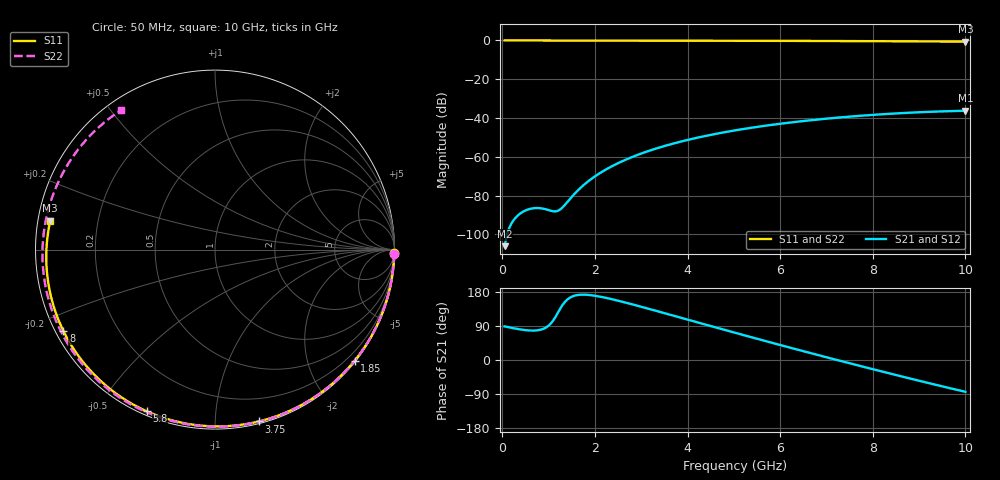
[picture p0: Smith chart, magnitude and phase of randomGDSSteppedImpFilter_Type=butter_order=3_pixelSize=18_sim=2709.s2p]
! freq	dB(S11)	phase(S11)	dB(S12)	phase(S12)
!  dB(S21)	phase(S21)	dB(S22)	phase(S22)
!S-par simulation data
#  GHz  S  DB  R 50
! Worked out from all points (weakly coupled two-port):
!   200 points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, 50 MHz to 10 GHz, reference 50 ohm
!   highest |S21| = -36.25 dB at 10 GHz (marker M1); lowest = -106.1 dB at 50 MHz (marker M2)
!   lowest |S11| = -0.6 dB at 10 GHz (marker M3), VSWR 28.38, Z = 1.78 + j4.38 ohm
!   |S11| at or under -10 dB: nowhere
!   |S22| runs from -0.6 to 0.0 dB; largest |S21 - S12| = 0
!   S11 on the Smith chart (normalised r, x): 50 MHz: open; 1.85 GHz: 0.03, -2.86; 3.75 GHz: 0.02, -1.29; 5.8 GHz: 0.02, -0.66; 8 GHz: 0.02, -0.25; 10 GHz: 0.04, +0.09
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0.05  -0.00 -1.0  -106.10 88.7  -106.10 88.7  -0.01 -1.4
0.4  -0.01 -8.4  -89.03 80.5  -89.03 80.5  -0.02 -11.7
0.75  -0.02 -15.8  -86.42 78.2  -86.42 78.2  -0.03 -21.9
1.1  -0.03 -23.1  -88.10 104.4  -88.10 104.4  -0.04 -31.9
1.5  -0.04 -31.3  -80.67 167.0  -80.67 167.0  -0.05 -43.2
1.55  -0.04 -32.4  -79.35 169.3  -79.35 169.3  -0.06 -44.5
1.75  -0.05 -36.5  -74.71 172.4  -74.71 172.4  -0.06 -50.0
1.85  -0.05 -38.5  -72.73 171.8  -72.73 171.8  -0.07 -52.8
2.15  -0.06 -44.5  -67.78 166.2  -67.78 166.2  -0.08 -60.8
2.5  -0.07 -51.5  -63.29 156.5  -63.29 156.5  -0.09 -70.0
2.9  -0.08 -59.4  -59.22 143.8  -59.22 143.8  -0.10 -80.2
3.4  -0.09 -69.0  -55.17 127.1  -55.17 127.1  -0.12 -92.4
3.75  -0.10 -75.7  -52.81 115.2  -52.81 115.2  -0.13 -100.7
4.35  -0.12 -86.8  -49.44 94.7  -49.44 94.7  -0.15 -114.5
5.05  -0.15 -99.6  -46.28 71.1  -46.28 71.1  -0.19 -129.9
5.8  -0.19 -112.9  -43.59 46.1  -43.59 46.1  -0.23 -145.8
6.7  -0.25 -128.7  -41.05 16.8  -41.05 16.8  -0.29 -164.4
7.35  -0.31 -140.2  -39.58 -3.9  -39.58 -3.9  -0.34 -177.8
8  -0.37 -151.7  -38.39 -24.2  -38.39 -24.2  -0.39 168.6
8.35  -0.40 -158.1  -37.85 -35.0  -37.85 -35.0  -0.42 161.1
9.15  -0.50 -173.1  -36.88 -59.3  -36.88 -59.3  -0.50 143.6
10  -0.61 170.0  -36.25 -83.9  -36.25 -83.9  -0.57 123.9
